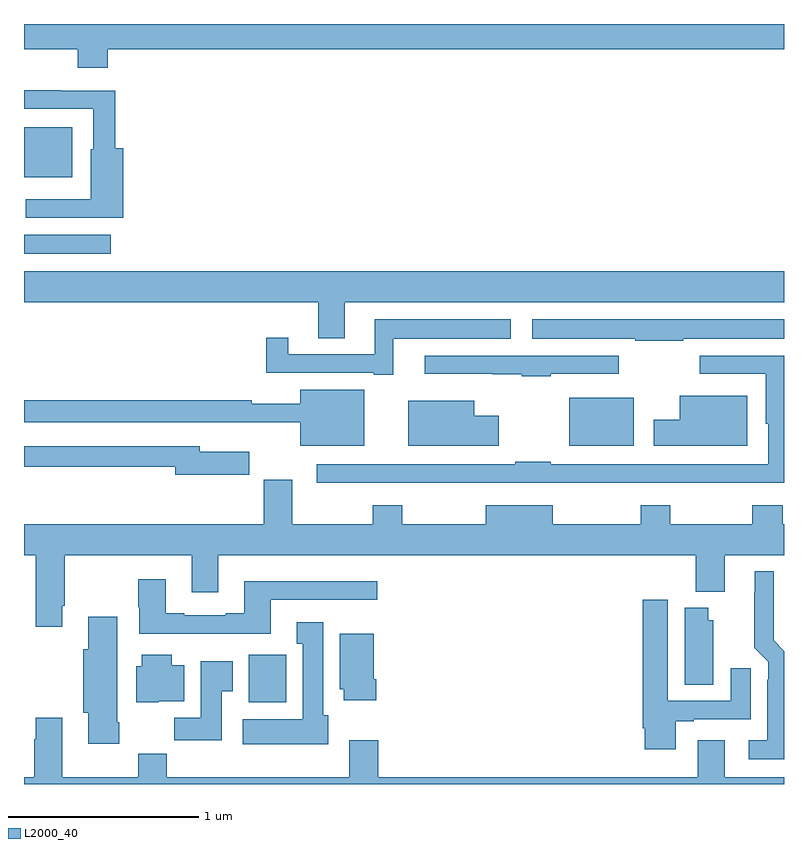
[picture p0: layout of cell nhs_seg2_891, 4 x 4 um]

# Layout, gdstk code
import gdstk
lib = gdstk.Library(unit=1e-6, precision=1e-09)
def R(c, l, rs):  # rectangles x0, y0, x1, y1
    for r in rs: c.add(gdstk.rectangle(r[:2], r[2:], *l))
def P(c, l, *ps):  # polygons
    for p in ps: c.add(gdstk.Polygon(p, *l))
L2000_40 = (2000, 40)

nhs_seg2_891 = lib.new_cell('nhs_seg2_891')
R(nhs_seg2_891, L2000_40, [(158.183,612.23,158.379,612.481), (159.869,613.58,160.21,613.834), (157,614.591,157.456,614.692), (157,614.993,157.255,615.256)])
P(nhs_seg2_891, L2000_40, [(157.442,615.668),(161,615.668),(161,615.8),(157,615.8),(157,615.668),(157.282,615.668),(157.282,615.569),(157.442,615.569)],
  [(157.523,615.145),(157.481,615.145),(157.481,615.45),(157.193,615.45),(157.193,615.452),(157,615.452),(157,615.354),(157.365,615.354),(157.365,615.141),(157.352,615.141),(157.352,614.877),(157.01,614.877),(157.01,614.781),(157.523,614.781)],
  [(158.689,614.336),(161,614.336),(161,614.5),(157,614.5),(157,614.336),(158.549,614.336),(158.549,614.146),(158.689,614.146)],
  [(160.469,614.144),(161,614.144),(161,614.245),(159.675,614.245),(159.675,614.144),(160.216,614.144),(160.216,614.134),(160.469,614.134)],
  [(158.944,614.144),(159.562,614.144),(159.562,614.245),(158.846,614.245),(158.846,614.061),(158.392,614.061),(158.392,614.149),(158.275,614.149),(158.275,613.965),(158.84,613.965),(158.84,613.953),(158.944,613.953)],
  [(159.773,613.959),(160.129,613.959),(160.129,614.055),(159.108,614.055),(159.108,613.958),(159.466,613.958),(159.466,613.957),(159.62,613.957),(159.62,613.947),(159.773,613.947)],
  [(159.335,613.386),(159.88,613.386),(159.88,613.385),(160.157,613.385),(160.157,613.386),(160.489,613.386),(160.489,613.385),(160.745,613.385),(160.745,613.386),(161,613.386),(161,614.055),(160.557,614.055),(160.557,613.959),(160.904,613.959),(160.904,613.695),(160.917,613.695),(160.917,613.482),(159.773,613.482),(159.773,613.495),(159.586,613.495),(159.586,613.482),(158.541,613.482),(158.541,613.386),(159.079,613.386),(159.079,613.385),(159.335,613.385)],
  [(158.791,613.876),(158.453,613.876),(158.453,613.801),(158.198,613.801),(158.198,613.82),(157,613.82),(157,613.704),(158.02,613.704),(158.02,613.703),(158.453,613.703),(158.453,613.58),(158.791,613.58)],
  [(160.807,613.843),(160.451,613.843),(160.451,613.716),(160.314,613.716),(160.314,613.58),(160.807,613.58)],
  [(159.499,613.738),(159.37,613.738),(159.37,613.816),(159.023,613.816),(159.023,613.58),(159.499,613.58)],
  [(158.072,613.428),(158.185,613.428),(158.185,613.549),(157.924,613.549),(157.924,613.578),(157,613.578),(157,613.47),(157.796,613.47),(157.796,613.427),(158.072,613.427)],
  [(157.201,612.739),(157.214,612.739),(157.214,613.004),(157.883,613.004),(157.883,612.81),(158.023,612.81),(158.023,613.004),(160.535,613.004),(160.535,612.812),(160.687,612.812),(160.687,613.004),(161,613.004),(161,613.168),(160.994,613.168),(160.994,613.267),(160.834,613.267),(160.834,613.168),(160.401,613.168),(160.401,613.267),(160.246,613.267),(160.246,613.168),(159.784,613.168),(159.784,613.267),(159.431,613.267),(159.431,613.168),(158.991,613.168),(158.991,613.267),(158.836,613.267),(158.836,613.168),(158.413,613.168),(158.413,613.402),(158.261,613.402),(158.261,613.168),(157,613.168),(157,613.004),(157.061,613.004),(157.061,612.627),(157.201,612.627)],
  [(161,612.5),(160.945,612.556),(160.945,612.919),(160.847,612.919),(160.847,612.809),(160.843,612.809),(160.843,612.518),(160.917,612.444),(160.917,612.35),(160.913,612.35),(160.913,612.031),(160.815,612.031),(160.815,611.93),(161,611.93)],
  [(158.299,612.771),(158.86,612.771),(158.86,612.868),(158.159,612.868),(158.159,612.7),(158.063,612.7),(158.063,612.687),(157.843,612.687),(157.843,612.7),(157.747,612.7),(157.747,612.877),(157.6,612.877),(157.6,612.729),(157.607,612.729),(157.607,612.59),(158.299,612.59)],
  [(160.429,612.129),(160.525,612.129),(160.525,612.141),(160.825,612.141),(160.825,612.409),(160.721,612.409),(160.721,612.237),(160.387,612.237),(160.387,612.769),(160.256,612.769),(160.256,612.094),(160.268,612.094),(160.268,611.982),(160.429,611.982)],
  [(160.627,612.663),(160.6,612.663),(160.6,612.727),(160.478,612.727),(160.478,612.322),(160.627,612.322)],
  [(157.5,612.124),(157.492,612.124),(157.492,612.679),(157.337,612.679),(157.337,612.51),(157.313,612.51),(157.313,612.174),(157.337,612.174),(157.337,612.012),(157.5,612.012)],
  [(158.602,612.162),(158.575,612.162),(158.575,612.652),(158.435,612.652),(158.435,612.539),(158.468,612.539),(158.468,612.142),(158.151,612.142),(158.151,612.008),(158.602,612.008)],
  [(158.855,612.352),(158.842,612.352),(158.842,612.592),(158.663,612.592),(158.663,612.3),(158.684,612.3),(158.684,612.24),(158.855,612.24)],
  [(157.71,612.236),(157.843,612.236),(157.843,612.424),(157.777,612.424),(157.777,612.481),(157.619,612.481),(157.619,612.42),(157.592,612.42),(157.592,612.23),(157.71,612.23)],
  [(158.041,612.289),(158.098,612.289),(158.098,612.445),(157.931,612.445),(157.931,612.148),(157.792,612.148),(157.792,612.03),(158.041,612.03)],
  [(158.711,612.031),(158.711,611.836),(157.751,611.836),(157.751,611.96),(157.6,611.96),(157.6,611.836),(157.201,611.836),(157.201,612.148),(157.061,612.148),(157.061,612.035),(157.054,612.035),(157.054,611.836),(157,611.836),(157,611.8),(161,611.8),(161,611.836),(160.687,611.836),(160.687,612.031),(160.547,612.031),(160.547,611.836),(158.864,611.836),(158.864,612.031)])

lib.write_gds('nhs_seg2_891.gds')
